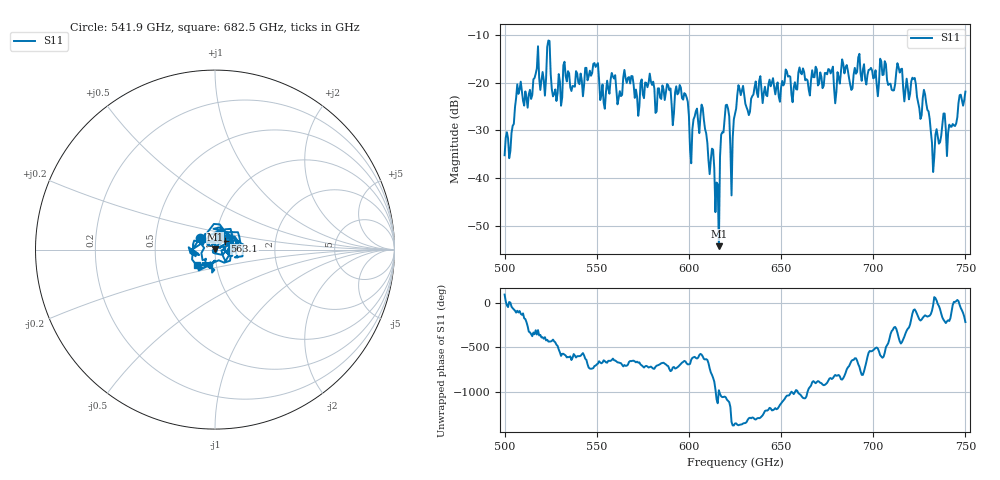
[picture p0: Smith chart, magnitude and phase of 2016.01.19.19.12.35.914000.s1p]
!Created with skrf (http://scikit-rf.org).
# GHz S RI R 50.0
!freq ReS11 ImS11
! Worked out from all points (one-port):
!   401 points, 500 GHz to 750 GHz, reference 50 ohm
!   lowest |S11| = -54.3 dB at 616.2 GHz (marker M1), VSWR 1.00, Z = 50 + j0.193 ohm
!   |S11| at or under -10 dB: start of sweep to end of sweep
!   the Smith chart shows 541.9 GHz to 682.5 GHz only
!   S11 on the Smith chart (normalised r, x): 541.9 GHz: 0.84, +0.11; 563.1 GHz: 1.11, +0.11; 682.5 GHz: 0.81, -0.14
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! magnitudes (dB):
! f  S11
! 500 GHz  -35.2
! 507.5 GHz  -22.3
! 513.8 GHz  -21.5
! 516.9 GHz  -18.1
! 531.2 GHz  -23.1
! 541.9 GHz  -19.5
! 549.4 GHz  -16.7
! 553.1 GHz  -20.4
! 558.8 GHz  -18.7
! 562.5 GHz  -21.8
! 563.1 GHz  -22.8
! 593.8 GHz  -22.4
! 601.2 GHz  -36.9
! 607.5 GHz  -25.3
! 615 GHz  -40.9
! 616.2 GHz  -54.3
! 619.4 GHz  -27.5
! 623.1 GHz  -43.6
! 625 GHz  -26.6
! 628.1 GHz  -22.6
! 656.2 GHz  -24.1
! 682.5 GHz  -17.6
! 687.5 GHz  -20.4
! 714.4 GHz  -17.9
! 718.8 GHz  -21.0
! 728.1 GHz  -22.5
! 732.5 GHz  -38.7
! 750 GHz  -21.9
